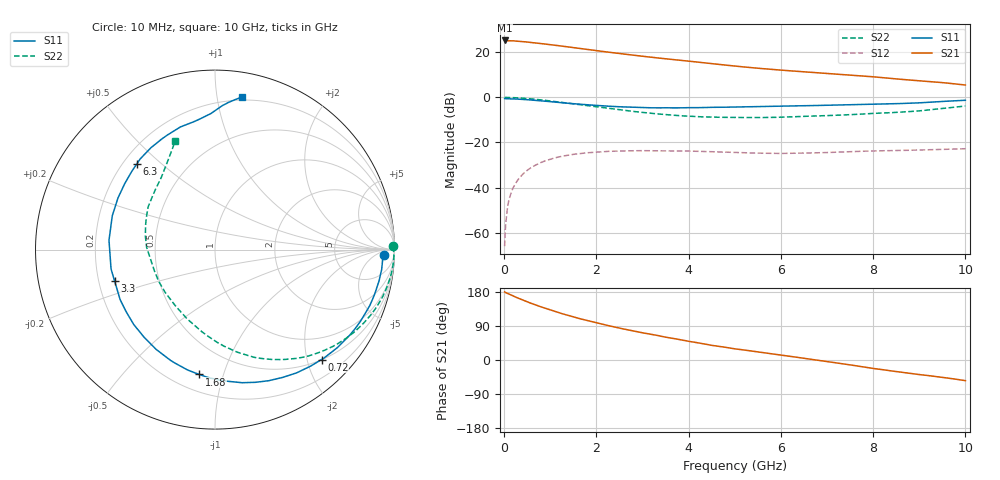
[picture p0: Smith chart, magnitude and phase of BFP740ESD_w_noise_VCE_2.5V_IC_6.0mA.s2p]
! Infineon Technologies  Discrete & RF Semiconductors
! BFP740ESD
! VCE =  2.5 V,  IC =  6.0 mA
! Common Emitter S-Parameters:  Jan 2016
# GHz  S  MA  R  50
!  f  S11  S21  S12  S22
! GHz  MAG  ANG  MAG  ANG  MAG  ANG  MAG  ANG
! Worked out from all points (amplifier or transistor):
!   233 points, 10 MHz to 10 GHz, reference 50 ohm
!   highest |S21| = 25.3 dB at 10 MHz (marker M1)
!   |S21| within 3 dB of that: start of sweep to 1.43 GHz
!   unconditionally stable (mu >= 1): 5.622 GHz to 9.273 GHz
!   at 200 MHz: K = 0.06, MSG = 32.5 dB, |S12| = -39.9 dB
!   at 1.74 GHz: K = 0.30, MSG = 23.1 dB, |S12| = -24.7 dB
!   at 10 GHz: K = 0.71, MSG = 14.1 dB, |S12| = -22.8 dB
!   lowest NFmin = 0.54 dB at 450 MHz
!   S11 on the Smith chart (normalised r, x): 10 MHz: 27, -13; 720 MHz: 0.51, -2.27; 1.68 GHz: 0.30, -0.83; 3.3 GHz: 0.27, -0.14; 6.3 GHz: 0.25, +0.42; 10 GHz: 0.18, +1.18
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0.01  0.9414 -1.7  18.36 179.7  0.0005 77.3  0.9904 1.0
0.02  0.9373 -1.5  18.11 178.9  0.0009 90.8  0.9976 -0.9
0.045  0.9362 -3.0  18.12 177.2  0.0021 87.4  0.9978 -2.0
0.1  0.9353 -6.7  18.2 174.4  0.0051 84.5  0.9963 -4.6
0.34  0.9106 -22.5  17.55 161.4  0.0167 75.8  0.9708 -15.5
0.56  0.8786 -36.2  16.67 150.7  0.0266 67.1  0.9314 -24.7
0.72  0.8527 -45.9  16.02 143.7  0.0329 61.4  0.8991 -31.0
0.98  0.8087 -61.0  14.9 132.8  0.042 52.6  0.8402 -40.8
1.2  0.7725 -73.2  13.97 124.3  0.0482 45.9  0.789 -48.7
1.4  0.7399 -83.7  13.12 117.0  0.0526 40.3  0.7424 -55.2
1.68  0.701 -97.3  12.04 107.8  0.0574 33.4  0.6825 -63.5
2  0.6654 -111.7  10.91 98.1  0.0613 26.7  0.6211 -72.3
2.46  0.6231 -131.4  9.536 85.3  0.0647 18.1  0.5395 -84.8
2.82  0.603 -145.7  8.605 76.1  0.0656 12.5  0.4858 -94.3
3.3  0.5861 -162.5  7.564 65.3  0.0655 6.7  0.4329 -106.3
3.4  0.5865 -165.9  7.378 62.8  0.0654 5.5  0.4242 -109.0
4  0.5929 175.0  6.39 49.3  0.0645 -0.1  0.383 -125.2
5.1  0.6134 150.4  4.852 28.0  0.0596 -6.0  0.3588 -152.5
6.3  0.6466 132.3  3.826 8.0  0.0577 -5.6  0.3729 -178.0
6.8  0.6628 125.1  3.52 -0.6  0.0591 -5.2  0.3883 172.7
8.4  0.7217 99.6  2.628 -28.9  0.0659 -9.3  0.4593 139.0
10  0.8643 79.9  1.884 -54.5  0.0727 -15.1  0.6438 110.1
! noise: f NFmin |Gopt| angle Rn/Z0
0.45  0.54  0.36  5  0.15
0.9  0.56  0.36  16  0.12
1.9  0.59  0.32  31  0.1
2.4  0.66  0.27  49  0.12
5.5  0.9  0.24  -167  0.11
10  1.83  0.61  -93  0.58
